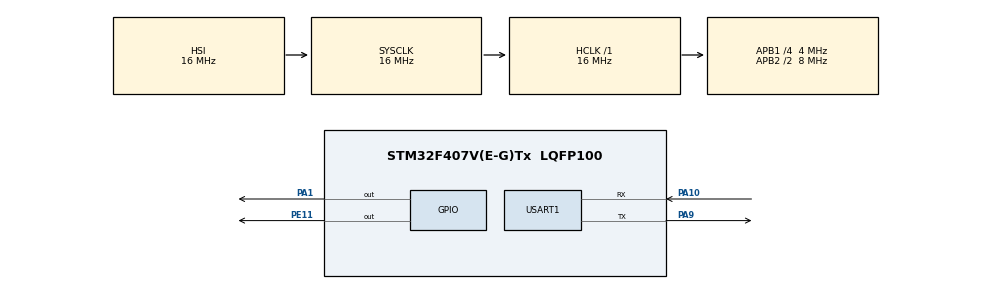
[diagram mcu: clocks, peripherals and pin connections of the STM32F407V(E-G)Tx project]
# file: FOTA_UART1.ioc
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Mcu.Family=STM32F4
Mcu.Name=STM32F407V(E-G)Tx
Mcu.Package=LQFP100
NVIC.PriorityGroup=NVIC_PRIORITYGROUP_4
NVIC.USART1_IRQn=true\:0\:0\:false\:false\:true\:true\:true\:true
PA1.Signal=GPIO_Output
PA10.Mode=Asynchronous
PA10.Signal=USART1_RX
PA9.Mode=Asynchronous
PA9.Signal=USART1_TX
PE11.Signal=GPIO_Output
ProjectManager.HeapSize=0x200
ProjectManager.StackSize=0x400
ProjectManager.TargetToolchain=STM32CubeIDE
RCC.48MHZClocksFreq_Value=40000000
RCC.AHBFreq_Value=16000000
RCC.APB1CLKDivider=RCC_HCLK_DIV4
RCC.APB1Freq_Value=4000000
RCC.APB1TimFreq_Value=8000000
RCC.APB2CLKDivider=RCC_HCLK_DIV2
RCC.APB2Freq_Value=8000000
RCC.APB2TimFreq_Value=16000000
RCC.CortexFreq_Value=16000000
RCC.HCLKFreq_Value=16000000
RCC.HSE_VALUE=25000000
RCC.HSI_VALUE=16000000
RCC.LSE_VALUE=32768
RCC.PLLM=8
RCC.PLLN=80
RCC.SYSCLKFreq_VALUE=16000000
RCC.VCOOutputFreq_Value=160000000
USART1.VirtualMode=VM_ASYNC
VP_CRC_VS_CRC.Mode=CRC_Activate
board=custom

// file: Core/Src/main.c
/* USER CODE BEGIN Header */
/**
  ******************************************************************************
  * @file           : main.c
  * @brief          : Main program body
  ******************************************************************************
  * @attention
  *
  * Copyright (c) 2025 STMicroelectronics.
  * All rights reserved.
  *
  * This software is licensed under terms that can be found in the LICENSE file
  * in the root directory of this software component.
  * If no LICENSE file comes with this software, it is provided AS-IS.
  *
  ******************************************************************************
  */
/* USER CODE END Header */
#include "main.h"

/* USER CODE BEGIN Includes */
#include "bootloader.h"
#include "scheduler.h"
#include "UART.h"
/* USER CODE END Includes */

CRC_HandleTypeDef hcrc;

void SystemClock_Config(void);
static void MX_GPIO_Init(void);
static void MX_CRC_Init(void);
static void MX_USART1_UART_Init(void);

/* USER CODE BEGIN 0 */
static void Status_Led(void*);

#define         SCHEDULER_TASK_COUNT  2
uint32_t 	g_ui32SchedulerNumTasks = SCHEDULER_TASK_COUNT;
tSchedulerTask 	g_psSchedulerTable[SCHEDULER_TASK_COUNT] =
                {
                    {
                            &Status_Led,
                            (void *) 0,
                            200,                          //call every 2mS
                            0,                          //count from start
                            true                        //is active
                    },
                    {
                            &BL_UART_Fetch_Host_Command,
                            (void *) 0,
                            10,                          //call every 2mS
                            0,                          //count from start
                            true                        //is active
                    },
                };
static void Status_Led(void*)
{
	HAL_GPIO_TogglePin(GPIOE, GPIO_PIN_11);

//	USART1_send_string("Bootloader Firmware\n");
 //   USART3_send_string("HELLO\r\n");
}
/* USER CODE END 0 */

int main(void)
{

  /* MCU Configuration--------------------------------------------------------*/

  /* Reset of all peripherals, Initializes the Flash interface and the Systick. */
  HAL_Init();

  /* Configure the system clock */
  SystemClock_Config();

  /* USER CODE BEGIN SysInit */
//  Jump_To_App(0x0800C000);
  /* USER CODE END SysInit */

  /* Initialize all configured peripherals */
  MX_GPIO_Init();
  MX_CRC_Init();
  MX_USART1_UART_Init();
  /* USER CODE BEGIN 2 */

  USART1_init();
  Firmware_Check_Available();
  Wait_For_Request();
  /* USER CODE END 2 */

  /* Infinite loop */
  while (1)
  {

    /* USER CODE BEGIN 3 */
	  SchedulerRun();
  }
  /* USER CODE END 3 */
}

void SystemClock_Config(void)
{
  RCC_OscInitTypeDef RCC_OscInitStruct = {0};
  RCC_ClkInitTypeDef RCC_ClkInitStruct = {0};

  /** Configure the main internal regulator output voltage
  */
  __HAL_RCC_PWR_CLK_ENABLE();
  __HAL_PWR_VOLTAGESCALING_CONFIG(PWR_REGULATOR_VOLTAGE_SCALE1);

  /** Initializes the RCC Oscillators according to the specified parameters
  * in the RCC_OscInitTypeDef structure.
  */
  RCC_OscInitStruct.OscillatorType = RCC_OSCILLATORTYPE_HSI;
  RCC_OscInitStruct.HSIState = RCC_HSI_ON;
  RCC_OscInitStruct.HSICalibrationValue = RCC_HSICALIBRATION_DEFAULT;
  RCC_OscInitStruct.PLL.PLLState = RCC_PLL_NONE;
  if (HAL_RCC_OscConfig(&RCC_OscInitStruct) != HAL_OK)
  {
    Error_Handler();
  }

  /** Initializes the CPU, AHB and APB buses clocks
  */
  RCC_ClkInitStruct.ClockType = RCC_CLOCKTYPE_HCLK|RCC_CLOCKTYPE_SYSCLK
                              |RCC_CLOCKTYPE_PCLK1|RCC_CLOCKTYPE_PCLK2;
  RCC_ClkInitStruct.SYSCLKSource = RCC_SYSCLKSOURCE_HSI;
  RCC_ClkInitStruct.AHBCLKDivider = RCC_SYSCLK_DIV1;
  RCC_ClkInitStruct.APB1CLKDivider = RCC_HCLK_DIV4;
  RCC_ClkInitStruct.APB2CLKDivider = RCC_HCLK_DIV2;

  if (HAL_RCC_ClockConfig(&RCC_ClkInitStruct, FLASH_LATENCY_0) != HAL_OK)
  {
    Error_Handler();
  }
}

static void MX_CRC_Init(void)
{

  hcrc.Instance = CRC;
  if (HAL_CRC_Init(&hcrc) != HAL_OK)
  {
    Error_Handler();
  }

}

static void MX_USART1_UART_Init(void)
{

  LL_USART_InitTypeDef USART_InitStruct = {0};

  LL_GPIO_InitTypeDef GPIO_InitStruct = {0};

  /* Peripheral clock enable */
  LL_APB2_GRP1_EnableClock(LL_APB2_GRP1_PERIPH_USART1);

  LL_AHB1_GRP1_EnableClock(LL_AHB1_GRP1_PERIPH_GPIOA);
  /**USART1 GPIO Configuration
  PA9   ------> USART1_TX
  PA10   ------> USART1_RX
  */
  GPIO_InitStruct.Pin = LL_GPIO_PIN_9|LL_GPIO_PIN_10;
  GPIO_InitStruct.Mode = LL_GPIO_MODE_ALTERNATE;
  GPIO_InitStruct.Speed = LL_GPIO_SPEED_FREQ_VERY_HIGH;
  GPIO_InitStruct.OutputType = LL_GPIO_OUTPUT_PUSHPULL;
  GPIO_InitStruct.Pull = LL_GPIO_PULL_NO;
  GPIO_InitStruct.Alternate = LL_GPIO_AF_7;
  LL_GPIO_Init(GPIOA, &GPIO_InitStruct);

  /* USART1 interrupt Init */
  NVIC_SetPriority(USART1_IRQn, NVIC_EncodePriority(NVIC_GetPriorityGrouping(),0, 0));
  NVIC_EnableIRQ(USART1_IRQn);

  USART_InitStruct.BaudRate = 115200;
  USART_InitStruct.DataWidth = LL_USART_DATAWIDTH_8B;
  USART_InitStruct.StopBits = LL_USART_STOPBITS_1;
  USART_InitStruct.Parity = LL_USART_PARITY_NONE;
  USART_InitStruct.TransferDirection = LL_USART_DIRECTION_TX_RX;
  USART_InitStruct.HardwareFlowControl = LL_USART_HWCONTROL_NONE;
  USART_InitStruct.OverSampling = LL_USART_OVERSAMPLING_16;
  LL_USART_Init(USART1, &USART_InitStruct);
  LL_USART_ConfigAsyncMode(USART1);
  LL_USART_Enable(USART1);

}

static void MX_GPIO_Init(void)
{
  GPIO_InitTypeDef GPIO_InitStruct = {0};

  /* GPIO Ports Clock Enable */
  __HAL_RCC_GPIOA_CLK_ENABLE();
  __HAL_RCC_GPIOE_CLK_ENABLE();

  /*Configure GPIO pin Output Level */
  HAL_GPIO_WritePin(GPIOA, GPIO_PIN_1, GPIO_PIN_RESET);

  /*Configure GPIO pin Output Level */
  HAL_GPIO_WritePin(GPIOE, GPIO_PIN_11, GPIO_PIN_RESET);

  /*Configure GPIO pin : PA1 */
  GPIO_InitStruct.Pin = GPIO_PIN_1;
  GPIO_InitStruct.Mode = GPIO_MODE_OUTPUT_PP;
  GPIO_InitStruct.Pull = GPIO_NOPULL;
  GPIO_InitStruct.Speed = GPIO_SPEED_FREQ_LOW;
  HAL_GPIO_Init(GPIOA, &GPIO_InitStruct);

  /*Configure GPIO pin : PE11 */
  GPIO_InitStruct.Pin = GPIO_PIN_11;
  GPIO_InitStruct.Mode = GPIO_MODE_OUTPUT_PP;
  GPIO_InitStruct.Pull = GPIO_NOPULL;
  GPIO_InitStruct.Speed = GPIO_SPEED_FREQ_LOW;
  HAL_GPIO_Init(GPIOE, &GPIO_InitStruct);

}

void Error_Handler(void)
{
  __disable_irq();
  while (1)
  {
  }
}
